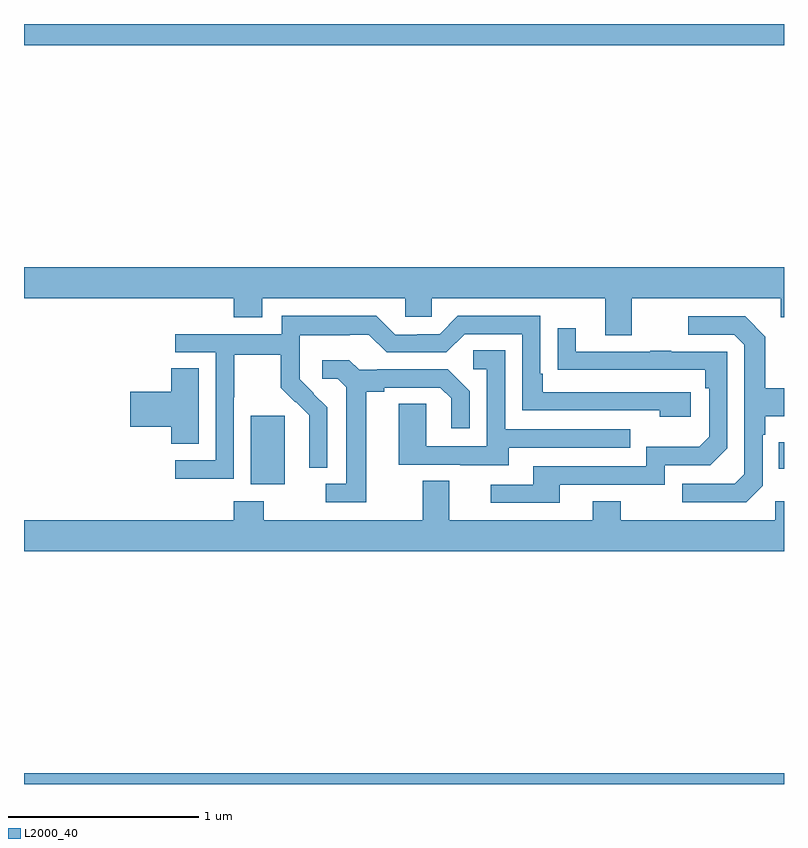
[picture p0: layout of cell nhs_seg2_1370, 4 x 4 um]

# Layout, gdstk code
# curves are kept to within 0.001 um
import gdstk
lib = gdstk.Library(unit=1e-6, precision=1e-09)
def R(c, l, rs):  # rectangles x0, y0, x1, y1
    for r in rs: c.add(gdstk.rectangle(r[:2], r[2:], *l))
def P(c, l, *ps):  # polygons
    for p in ps: c.add(gdstk.Polygon(p, *l))
L2000_40 = (2000, 40)

nhs_seg2_1370 = lib.new_cell('nhs_seg2_1370')
R(nhs_seg2_1370, L2000_40, [(183,591.8,187,591.856), (184.193,593.378,184.372,593.739), (186.973,593.459,187,593.599), (183,595.688,187,595.8)])
P(nhs_seg2_1370, L2000_40, [(186.199,594.356),(186.983,594.356),(186.983,594.257),(187,594.257),(187,594.52),(183,594.52),(183,594.356),(184.103,594.356),(184.103,594.257),(184.255,594.257),(184.255,594.356),(185.007,594.356),(185.007,594.258),(185.145,594.258),(185.145,594.356),(186.059,594.356),(186.059,594.162),(186.199,594.162)],
  [(184.104,593.836),(184.107,593.836),(184.107,594.06),(184.351,594.06),(184.351,593.885),(184.428,593.808),(184.431,593.811),(184.502,593.741),(184.502,593.618),(184.5,593.618),(184.5,593.464),(184.596,593.464),(184.596,593.782),(184.45,593.93),(184.45,594.027),(184.452,594.027),(184.452,594.161),(184.715,594.161),(184.715,594.165),(184.815,594.165),(184.908,594.072),(185.223,594.072),(185.319,594.168),(185.622,594.168),(185.622,593.766),(186.347,593.766),(186.347,593.732),(186.508,593.732),(186.508,593.862),(185.731,593.862),(185.731,593.959),(185.718,593.959),(185.718,594.264),(185.283,594.264),(185.187,594.168),(185.069,594.168),(185.069,594.165),(184.953,594.165),(184.853,594.265),(184.356,594.265),(184.356,594.168),(183.795,594.168),(183.795,594.072),(184.008,594.072),(184.008,593.505),(183.795,593.505),(183.795,593.407),(184.104,593.407)],
  [(186.888,593.37),(186.888,593.639),(186.901,593.639),(186.901,593.735),(187,593.735),(187,593.883),(186.901,593.883),(186.901,594.155),(186.795,594.261),(186.495,594.261),(186.495,594.165),(186.738,594.165),(186.792,594.111),(186.792,593.43),(186.741,593.379),(186.465,593.379),(186.465,593.283),(186.801,593.283)],
  [(185.821,593.376),(186.372,593.376),(186.372,593.478),(186.612,593.478),(186.702,593.568),(186.702,594.075),(186.407,594.075),(186.407,594.08),(186.295,594.08),(186.295,594.075),(185.905,594.075),(185.905,594.199),(185.809,594.199),(185.809,593.98),(186.586,593.979),(186.586,593.882),(186.606,593.882),(186.606,593.628),(186.553,593.575),(186.276,593.575),(186.276,593.472),(185.681,593.472),(185.681,593.376),(185.457,593.376),(185.457,593.28),(185.821,593.28)],
  [(185.551,593.571),(186.191,593.571),(186.191,593.667),(185.532,593.667),(185.532,594.083),(185.364,594.083),(185.364,593.982),(185.436,593.982),(185.436,593.577),(185.118,593.577),(185.118,593.801),(184.973,593.801),(184.973,593.481),(185.297,593.481),(185.297,593.477),(185.551,593.477)],
  [(184.801,593.864),(184.897,593.864),(184.897,593.886),(185.192,593.886),(185.249,593.829),(185.249,593.673),(185.346,593.673),(185.346,593.866),(185.23,593.982),(184.858,593.982),(184.858,593.979),(184.764,593.979),(184.712,594.031),(184.569,594.031),(184.569,593.934),(184.65,593.934),(184.697,593.887),(184.697,593.379),(184.587,593.379),(184.587,593.283),(184.801,593.283)],
  [(183.919,593.987),(183.776,593.987),(183.776,593.864),(183.558,593.864),(183.558,593.681),(183.776,593.681),(183.776,593.59),(183.919,593.59)],
  [(187,593.287),(186.954,593.287),(186.954,593.188),(186.141,593.188),(186.141,593.287),(185.993,593.287),(185.993,593.188),(185.239,593.188),(185.239,593.396),(185.099,593.396),(185.099,593.188),(184.263,593.188),(184.263,593.287),(184.103,593.287),(184.103,593.188),(183,593.188),(183,593.024),(187,593.024)])

lib.write_gds('nhs_seg2_1370.gds')
